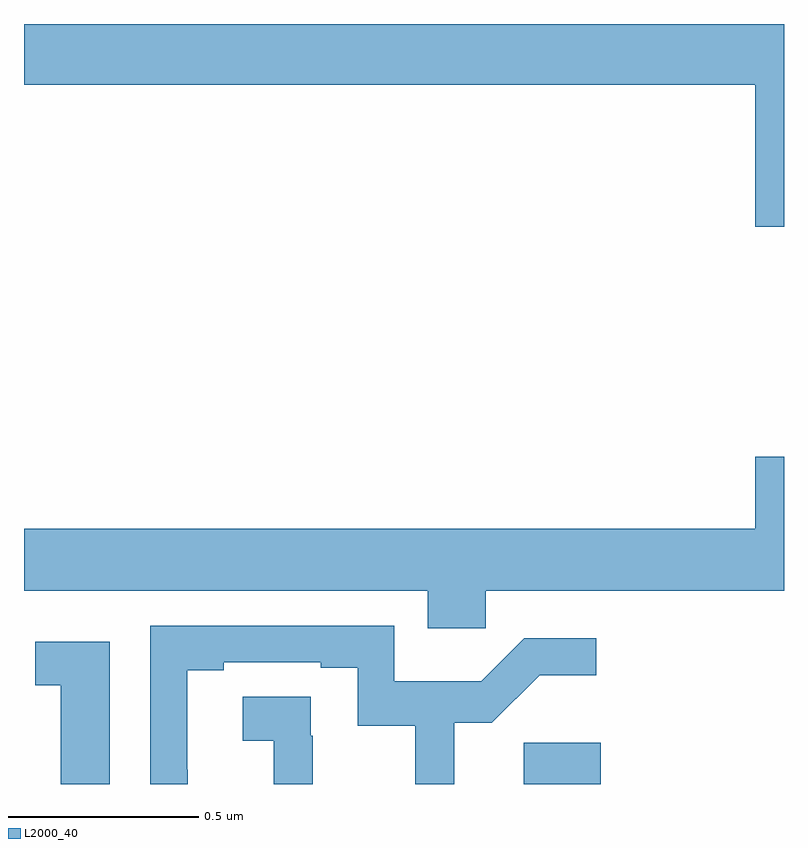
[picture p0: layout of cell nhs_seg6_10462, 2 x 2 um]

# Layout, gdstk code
import gdstk
lib = gdstk.Library(unit=1e-6, precision=1e-09)
def R(c, l, rs):  # rectangles x0, y0, x1, y1
    for r in rs: c.add(gdstk.rectangle(r[:2], r[2:], *l))
def P(c, l, *ps):  # polygons
    for p in ps: c.add(gdstk.Polygon(p, *l))
L2000_40 = (2000, 40)

nhs_seg6_10462 = lib.new_cell('nhs_seg6_10462')
R(nhs_seg6_10462, L2000_40, [(248.315,941.5,248.518,941.608)])
P(nhs_seg6_10462, L2000_40, [(249,943.5),(247,943.5),(247,943.34),(248.924,943.34),(248.924,942.966),(249,942.966)],
  [(248.215,942.008),(249,942.008),(249,942.361),(248.924,942.361),(248.924,942.172),(247,942.172),(247,942.008),(248.063,942.008),(248.063,941.91),(248.215,941.91)],
  [(247.431,941.537),(247.429,941.537),(247.429,941.8),(247.525,941.8),(247.525,941.82),(247.781,941.82),(247.781,941.806),(247.878,941.806),(247.878,941.653),(248.029,941.653),(248.029,941.5),(248.132,941.5),(248.132,941.661),(248.231,941.661),(248.357,941.786),(248.506,941.786),(248.506,941.883),(248.316,941.883),(248.203,941.77),(247.974,941.77),(247.974,941.916),(247.332,941.916),(247.332,941.5),(247.431,941.5)],
  [(247.225,941.875),(247.029,941.875),(247.029,941.76),(247.097,941.76),(247.097,941.5),(247.225,941.5)],
  [(247.76,941.627),(247.754,941.627),(247.754,941.729),(247.575,941.729),(247.575,941.614),(247.657,941.614),(247.657,941.5),(247.76,941.5)])

lib.write_gds('nhs_seg6_10462.gds')
